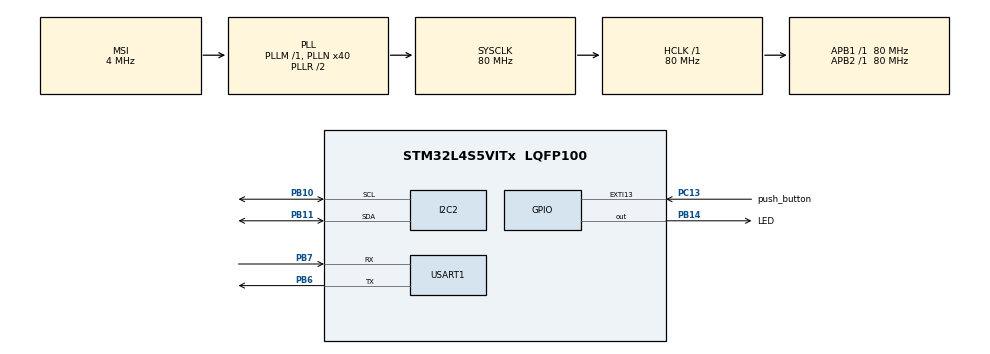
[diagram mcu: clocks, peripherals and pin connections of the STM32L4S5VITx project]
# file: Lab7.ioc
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FREERTOS.Tasks01=press_button,0,128,press_button_task,Default,NULL,Dynamic,NULL,NULL;read_sensor,-3,128,read_sensor_task,Default,NULL,Dynamic,NULL,NULL;transmit_data,-3,128,transmit_data_task,Default,NULL,Dynamic,NULL,NULL
I2C2.Timing=0x10909CEC
Mcu.Family=STM32L4
Mcu.Name=STM32L4S5VITx
Mcu.Package=LQFP100
NVIC.EXTI15_10_IRQn=true\:5\:0\:false\:false\:true\:true\:true\:true\:true
NVIC.PriorityGroup=NVIC_PRIORITYGROUP_4
NVIC.TIM6_DAC_IRQn=true\:15\:0\:false\:false\:true\:false\:false\:true\:true
NVIC.TimeBase=TIM6_DAC_IRQn
NVIC.TimeBaseIP=TIM6
PB10.Mode=I2C
PB10.Signal=I2C2_SCL
PB11.Mode=I2C
PB11.Signal=I2C2_SDA
PB14.GPIO_Label=LED
PB14.Signal=GPIO_Output
PB6.Mode=Asynchronous
PB6.Signal=USART1_TX
PB7.Mode=Asynchronous
PB7.Signal=USART1_RX
PC13.GPIO_Label=push_button
PC13.Signal=GPXTI13
ProjectManager.HeapSize=0x200
ProjectManager.StackSize=0x400
ProjectManager.TargetToolchain=STM32CubeIDE
RCC.ADCFreq_Value=48000000
RCC.AHBFreq_Value=80000000
RCC.APB1Freq_Value=80000000
RCC.APB1TimFreq_Value=80000000
RCC.APB2Freq_Value=80000000
RCC.APB2TimFreq_Value=80000000
RCC.CortexFreq_Value=80000000
RCC.HCLKFreq_Value=80000000
RCC.HSE_VALUE=8000000
RCC.HSI48_VALUE=48000000
RCC.HSI_VALUE=16000000
RCC.LSE_VALUE=32768
RCC.MSI_VALUE=4000000
RCC.PLLN=40
RCC.PLLSAI1N=24
RCC.SYSCLKFreq_VALUE=80000000
RCC.SYSCLKSource=RCC_SYSCLKSOURCE_PLLCLK
RCC.USBFreq_Value=48000000
RCC.VCOOutputFreq_Value=160000000
USART1.VirtualMode-Asynchronous=VM_ASYNC
VP_FREERTOS_VS_CMSIS_V1.Mode=CMSIS_V1
VP_SYS_VS_tim6.Mode=TIM6
board=B-L4S5I-IOT01A

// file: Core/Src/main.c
/* USER CODE BEGIN Header */
/**
  ******************************************************************************
  * @file           : main.c
  * @brief          : Main program body
  ******************************************************************************
  * @attention
  *
  * Copyright (c) 2022 STMicroelectronics.
  * All rights reserved.
  *
  * This software is licensed under terms that can be found in the LICENSE file
  * in the root directory of this software component.
  * If no LICENSE file comes with this software, it is provided AS-IS.
  *
  ******************************************************************************
  */
/* USER CODE END Header */
#include "main.h"
#include "cmsis_os.h"

/* USER CODE BEGIN Includes */
#include "string.h"
#include "stdio.h"
#include "stm32l4s5i_iot01.h"

#include "stm32l4s5i_iot01_magneto.h"
#include "stm32l4s5i_iot01_accelero.h"
#include "stm32l4s5i_iot01_psensor.h"
#include "stm32l4s5i_iot01_hsensor.h"

/* USER CODE END Includes */

I2C_HandleTypeDef hi2c2;

UART_HandleTypeDef huart1;

osThreadId press_buttonHandle;
osThreadId read_sensorHandle;
osThreadId transmit_dataHandle;
/* USER CODE BEGIN PV */
int sensorType = 0;

uint8_t humidity;
uint8_t pressure;

int16_t gyro[3];
int16_t magneto[3];
int16_t accelero[3];

char buffer[100];
int pressed=0;

/* USER CODE END PV */

void SystemClock_Config(void);
static void MX_GPIO_Init(void);
static void MX_I2C2_Init(void);
static void MX_USART1_UART_Init(void);
void press_button_task(void const * argument);
void read_sensor_task(void const * argument);
void transmit_data_task(void const * argument);

int main(void)
{

  /* MCU Configuration--------------------------------------------------------*/

  /* Reset of all peripherals, Initializes the Flash interface and the Systick. */
  HAL_Init();

  /* Configure the system clock */
  SystemClock_Config();

  /* Initialize all configured peripherals */
  MX_GPIO_Init();
  MX_I2C2_Init();
  MX_USART1_UART_Init();
  /* USER CODE BEGIN 2 */
  /* Initialize I2C sensors */
  BSP_ACCELERO_Init();
  BSP_MAGNETO_Init();
  BSP_PSENSOR_Init();
  BSP_HSENSOR_Init();

  /* Set low power mode for accelerometer and magnetometer */
  BSP_ACCELERO_LowPower(1);
  BSP_MAGNETO_LowPower(1);

  /* USER CODE END 2 */

  /* Create the thread(s) */
  /* definition and creation of press_button */
  osThreadDef(press_button, press_button_task, osPriorityNormal, 0, 128);
  press_buttonHandle = osThreadCreate(osThread(press_button), NULL);

  /* definition and creation of read_sensor */
  osThreadDef(read_sensor, read_sensor_task, osPriorityIdle, 0, 128);
  read_sensorHandle = osThreadCreate(osThread(read_sensor), NULL);

  /* definition and creation of transmit_data */
  osThreadDef(transmit_data, transmit_data_task, osPriorityIdle, 0, 128);
  transmit_dataHandle = osThreadCreate(osThread(transmit_data), NULL);

  /* Start scheduler */
  osKernelStart();

  /* We should never get here as control is now taken by the scheduler */
  /* Infinite loop */
  while (1)
  {

    /* USER CODE BEGIN 3 */
	  // part 1
//	  if (sensorType == 0){
//		  humidity = BSP_HSENSOR_ReadHumidity();
//		  sprintf(buffer, "Humidity: %d \n", (int) humidity);
//	  }else if (sensorType == 1){
//		  pressure = BSP_PSENSOR_ReadPressure();
//		  sprintf(buffer, "Pressure: %d \n", (int) pressure);
//	  }else if (sensorType == 2){
//		  BSP_MAGNETO_GetXYZ(magneto);
//		  sprintf(buffer, "Magneto X, Y, Z: %.2d, %.2d, %.2d \n", (int) magneto[0], (int) magneto[1], (int) magneto[2]);
//	  }else if (sensorType == 3){
//		  BSP_ACCELERO_AccGetXYZ(accelero);
//		  sprintf(buffer, "Accelero X, Y, Z: %.2d, %.2d, %.2d \n", (int) accelero[0], (int) accelero[1], (int) accelero[2]);
//	  }
//
//	  HAL_UART_Transmit(&huart1, (uint8_t*) buffer, (uint16_t) strlen(buffer), 100);
//
//	  // 10hz
//	  HAL_Delay(100);
    }
  /* USER CODE END 3 */
}

void SystemClock_Config(void)
{
  RCC_OscInitTypeDef RCC_OscInitStruct = {0};
  RCC_ClkInitTypeDef RCC_ClkInitStruct = {0};

  /** Configure the main internal regulator output voltage
  */
  if (HAL_PWREx_ControlVoltageScaling(PWR_REGULATOR_VOLTAGE_SCALE1) != HAL_OK)
  {
    Error_Handler();
  }

  /** Initializes the RCC Oscillators according to the specified parameters
  * in the RCC_OscInitTypeDef structure.
  */
  RCC_OscInitStruct.OscillatorType = RCC_OSCILLATORTYPE_MSI;
  RCC_OscInitStruct.MSIState = RCC_MSI_ON;
  RCC_OscInitStruct.MSICalibrationValue = 0;
  RCC_OscInitStruct.MSIClockRange = RCC_MSIRANGE_6;
  RCC_OscInitStruct.PLL.PLLState = RCC_PLL_ON;
  RCC_OscInitStruct.PLL.PLLSource = RCC_PLLSOURCE_MSI;
  RCC_OscInitStruct.PLL.PLLM = 1;
  RCC_OscInitStruct.PLL.PLLN = 40;
  RCC_OscInitStruct.PLL.PLLP = RCC_PLLP_DIV2;
  RCC_OscInitStruct.PLL.PLLQ = RCC_PLLQ_DIV2;
  RCC_OscInitStruct.PLL.PLLR = RCC_PLLR_DIV2;
  if (HAL_RCC_OscConfig(&RCC_OscInitStruct) != HAL_OK)
  {
    Error_Handler();
  }

  /** Initializes the CPU, AHB and APB buses clocks
  */
  RCC_ClkInitStruct.ClockType = RCC_CLOCKTYPE_HCLK|RCC_CLOCKTYPE_SYSCLK
                              |RCC_CLOCKTYPE_PCLK1|RCC_CLOCKTYPE_PCLK2;
  RCC_ClkInitStruct.SYSCLKSource = RCC_SYSCLKSOURCE_PLLCLK;
  RCC_ClkInitStruct.AHBCLKDivider = RCC_SYSCLK_DIV1;
  RCC_ClkInitStruct.APB1CLKDivider = RCC_HCLK_DIV1;
  RCC_ClkInitStruct.APB2CLKDivider = RCC_HCLK_DIV1;

  if (HAL_RCC_ClockConfig(&RCC_ClkInitStruct, FLASH_LATENCY_3) != HAL_OK)
  {
    Error_Handler();
  }
}

static void MX_I2C2_Init(void)
{

  hi2c2.Instance = I2C2;
  hi2c2.Init.Timing = 0x10909CEC;
  hi2c2.Init.OwnAddress1 = 0;
  hi2c2.Init.AddressingMode = I2C_ADDRESSINGMODE_7BIT;
  hi2c2.Init.DualAddressMode = I2C_DUALADDRESS_DISABLE;
  hi2c2.Init.OwnAddress2 = 0;
  hi2c2.Init.OwnAddress2Masks = I2C_OA2_NOMASK;
  hi2c2.Init.GeneralCallMode = I2C_GENERALCALL_DISABLE;
  hi2c2.Init.NoStretchMode = I2C_NOSTRETCH_DISABLE;
  if (HAL_I2C_Init(&hi2c2) != HAL_OK)
  {
    Error_Handler();
  }

  /** Configure Analogue filter
  */
  if (HAL_I2CEx_ConfigAnalogFilter(&hi2c2, I2C_ANALOGFILTER_ENABLE) != HAL_OK)
  {
    Error_Handler();
  }

  /** Configure Digital filter
  */
  if (HAL_I2CEx_ConfigDigitalFilter(&hi2c2, 0) != HAL_OK)
  {
    Error_Handler();
  }

}

static void MX_USART1_UART_Init(void)
{

  huart1.Instance = USART1;
  huart1.Init.BaudRate = 115200;
  huart1.Init.WordLength = UART_WORDLENGTH_8B;
  huart1.Init.StopBits = UART_STOPBITS_1;
  huart1.Init.Parity = UART_PARITY_NONE;
  huart1.Init.Mode = UART_MODE_TX_RX;
  huart1.Init.HwFlowCtl = UART_HWCONTROL_NONE;
  huart1.Init.OverSampling = UART_OVERSAMPLING_16;
  huart1.Init.OneBitSampling = UART_ONE_BIT_SAMPLE_DISABLE;
  huart1.Init.ClockPrescaler = UART_PRESCALER_DIV1;
  huart1.AdvancedInit.AdvFeatureInit = UART_ADVFEATURE_NO_INIT;
  if (HAL_UART_Init(&huart1) != HAL_OK)
  {
    Error_Handler();
  }
  if (HAL_UARTEx_SetTxFifoThreshold(&huart1, UART_TXFIFO_THRESHOLD_1_8) != HAL_OK)
  {
    Error_Handler();
  }
  if (HAL_UARTEx_SetRxFifoThreshold(&huart1, UART_RXFIFO_THRESHOLD_1_8) != HAL_OK)
  {
    Error_Handler();
  }
  if (HAL_UARTEx_DisableFifoMode(&huart1) != HAL_OK)
  {
    Error_Handler();
  }

}

static void MX_GPIO_Init(void)
{
  GPIO_InitTypeDef GPIO_InitStruct = {0};

  /* GPIO Ports Clock Enable */
  __HAL_RCC_GPIOC_CLK_ENABLE();
  __HAL_RCC_GPIOB_CLK_ENABLE();

  /*Configure GPIO pin Output Level */
  HAL_GPIO_WritePin(LED_GPIO_Port, LED_Pin, GPIO_PIN_RESET);

  /*Configure GPIO pin : push_button_Pin */
  GPIO_InitStruct.Pin = push_button_Pin;
  GPIO_InitStruct.Mode = GPIO_MODE_IT_RISING;
  GPIO_InitStruct.Pull = GPIO_NOPULL;
  HAL_GPIO_Init(push_button_GPIO_Port, &GPIO_InitStruct);

  /*Configure GPIO pin : LED_Pin */
  GPIO_InitStruct.Pin = LED_Pin;
  GPIO_InitStruct.Mode = GPIO_MODE_OUTPUT_PP;
  GPIO_InitStruct.Pull = GPIO_NOPULL;
  GPIO_InitStruct.Speed = GPIO_SPEED_FREQ_LOW;
  HAL_GPIO_Init(LED_GPIO_Port, &GPIO_InitStruct);

  /* EXTI interrupt init*/
  HAL_NVIC_SetPriority(EXTI15_10_IRQn, 5, 0);
  HAL_NVIC_EnableIRQ(EXTI15_10_IRQn);

}

/* USER CODE BEGIN 4 */

void HAL_GPIO_EXTI_Callback(uint16_t GPIO_PIN){
	if(GPIO_PIN == GPIO_PIN_13){
		pressed=1;

		if(sensorType>=3 ){
			sensorType = 0;
		}else{
			sensorType ++;
		}
	}
}

/* USER CODE END 4 */

void press_button_task(void const * argument)
{
  /* USER CODE BEGIN 5 */
  /* Infinite loop */

	for(;;){
		osDelay(30000);
		if(pressed==0){
			pressed=1;
			if(sensorType >=3 ){
				sensorType = 0;
			}else{
				sensorType ++;
			}
		}
	}

  /* USER CODE END 5 */
}

void read_sensor_task(void const * argument)
{
  /* USER CODE BEGIN read_sensor_task */
  /* Infinite loop */
  for(;;)
  {
    osDelay(100);

    		  humidity = BSP_HSENSOR_ReadHumidity();

    		  pressure = BSP_PSENSOR_ReadPressure();

    		  BSP_MAGNETO_GetXYZ(magneto);

    		  BSP_ACCELERO_AccGetXYZ(accelero);

  }
  /* USER CODE END read_sensor_task */
}

void transmit_data_task(void const * argument)
{
  /* USER CODE BEGIN transmit_data_task */
  /* Infinite loop */
	  for(;;)
	  {
	    osDelay(100);

	    	  if (sensorType == 0 && pressed == 1){
	    		  sprintf(buffer, "Humidity: %d \n", (int) humidity);

				  pressed = 0;
	    	  }else if (sensorType == 1 && pressed == 1){
	    		  sprintf(buffer, "Pressure: %d \n", (int) pressure);

				  pressed = 0;
	    	  }else if (sensorType == 2 && pressed == 1){
	    		  sprintf(buffer, "Magneto X, Y, Z: %.2d, %.2d, %.2d \n", (int) magneto[0], (int) magneto[1], (int) magneto[2]);

				  pressed = 0;
	    	  }else if (sensorType == 3 && pressed == 1){
	    		  sprintf(buffer, "Accelero X, Y, Z: %.2d, %.2d, %.2d \n", (int) accelero[0], (int) accelero[1], (int) accelero[2]);

				  pressed = 0;
	    	  }
	    	  HAL_UART_Transmit(&huart1, (uint8_t*) buffer, (uint16_t) strlen(buffer), 100);
		}

  /* USER CODE END transmit_data_task */
}

void HAL_TIM_PeriodElapsedCallback(TIM_HandleTypeDef *htim)
{
  if (htim->Instance == TIM6) {
    HAL_IncTick();
  }
}

void Error_Handler(void)
{
  __disable_irq();
  while (1)
  {
  }
}
